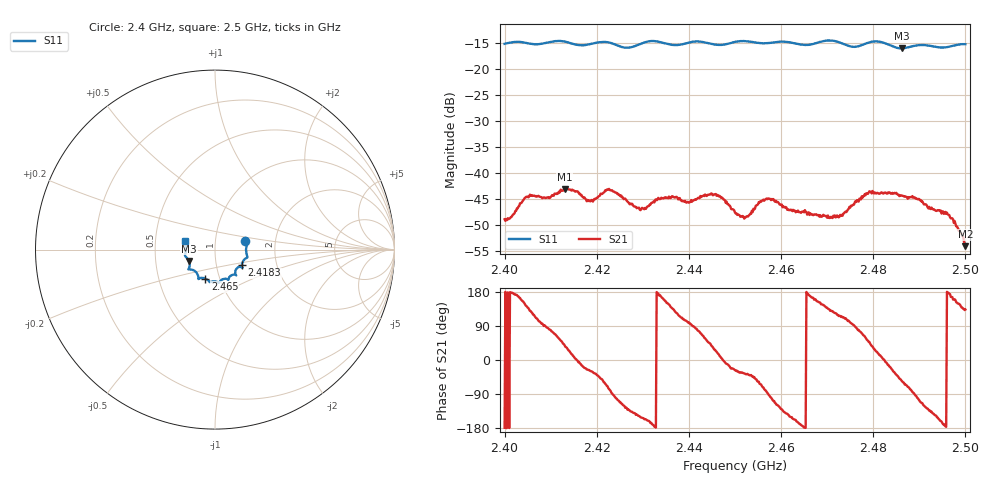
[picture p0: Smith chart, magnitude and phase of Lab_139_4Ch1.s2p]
# Hz S RI R 50
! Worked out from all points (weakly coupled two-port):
!   601 points, 2.4 GHz to 2.5 GHz, reference 50 ohm
!   highest |S21| = -43.10 dB at 2.413 GHz (marker M1); lowest = -54.1 dB at 2.5 GHz (marker M2)
!   lowest |S11| = -16.0 dB at 2.4862 GHz (marker M3), VSWR 1.37, Z = 37.1 - j4.8 ohm
!   |S11| at or under -10 dB: start of sweep to end of sweep
!   S12 and S22 are empty: the file has one direction only
!   S11 on the Smith chart (normalised r, x): 2.4 GHz: 1.40, +0.13; 2.4183 GHz: 1.33, -0.24; 2.465 GHz: 0.86, -0.29; 2.5 GHz: 0.71, +0.07
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2.4e9  0.1686 0.046  -0.00357 -6.07e-05  0 0  0 0
2.405e9  0.1761 0.0192  -0.0044 0.00395  0 0  0 0
2.409333e9  0.1774 -0.0303  0.000508 0.00577  0 0  0 0
2.413e9  0.1786 -0.0443  0.00541 0.00444  0 0  0 0
2.416667e9  0.1548 -0.0685  0.00595 -0.00145  0 0  0 0
2.418333e9  0.1496 -0.0868  0.00486 -0.00241  0 0  0 0
2.422667e9  0.1507 -0.0986  0.00163 -0.0068  0 0  0 0
2.429167e9  0.1124 -0.1303  -0.00391 -0.00246  0 0  0 0
2.433333e9  0.1166 -0.1413  -0.00571 0.000522  0 0  0 0
2.439833e9  0.0761 -0.162  -0.000799 0.00517  0 0  0 0
2.445333e9  0.0588 -0.1623  0.00522 0.00315  0 0  0 0
2.45e9  0.0251 -0.1808  0.0037 -0.00186  0 0  0 0
2.4525e9  0.0197 -0.1842  0.00301 -0.00232  0 0  0 0
2.457167e9  -0.0111 -0.1773  0.000115 -0.00565  0 0  0 0
2.465e9  -0.053 -0.1622  -0.00416 -0.000115  0 0  0 0
2.466667e9  -0.0715 -0.1574  -0.00385 0.00107  0 0  0 0
2.472833e9  -0.0919 -0.154  -0.00172 0.00354  0 0  0 0
2.479e9  -0.1419 -0.1107  0.00432 0.00479  0 0  0 0
2.483333e9  -0.1424 -0.0959  0.00619 -0.00148  0 0  0 0
2.486167e9  -0.1447 -0.0631  0.00348 -0.00496  0 0  0 0
2.496167e9  -0.1619 0.0184  -0.00397 0.000132  0 0  0 0
2.5e9  -0.1668 0.0472  -0.00134 0.00143  0 0  0 0
